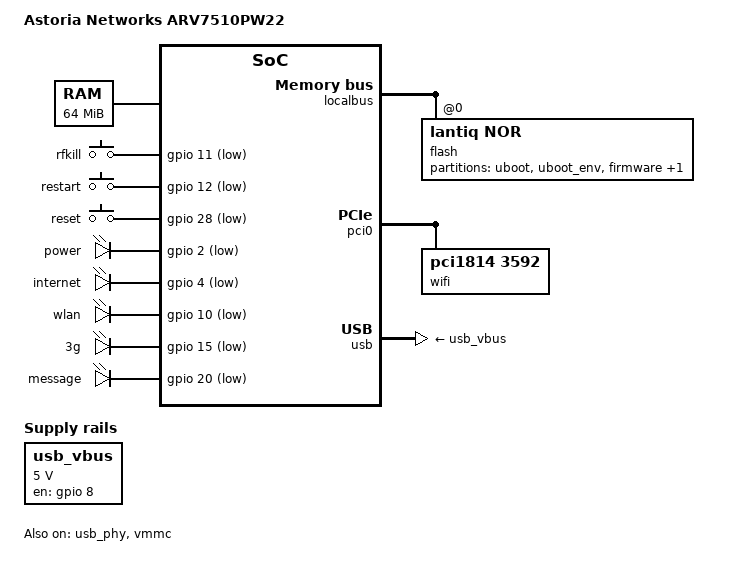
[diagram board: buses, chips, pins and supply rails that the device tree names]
/dts-v1/;

#include "danube.dtsi"

#include <dt-bindings/input/input.h>

/ {
	compatible = "arcadyan,arv7510pw22", "lantiq,xway", "lantiq,danube";
	model = "Astoria Networks ARV7510PW22";

	chosen {
		bootargs = "console=ttyLTQ0,115200";
	};

	aliases {
		led-boot = &power;
		led-failsafe = &power;
		led-running = &power;
		led-upgrade = &power;

		led-dsl = &internet;
		led-usb = &umts;
		led-wifi = &wlan;
	};

	memory@0 {
		device_type = "memory";
		reg = <0x0 0x4000000>;
	};

	keys {
		compatible = "gpio-keys-polled";
		poll-interval = <100>;

		rfkill {
			label = "rfkill";
			gpios = <&gpio 11 GPIO_ACTIVE_LOW>;
			linux,code = <KEY_RFKILL>;
		};
		restart {
			label = "restart";
			gpios = <&gpio 12 GPIO_ACTIVE_LOW>;
			linux,code = <KEY_POWER>;
		};
		reset {
			label = "reset";
			gpios = <&gpio 28 GPIO_ACTIVE_LOW>;
			linux,code = <KEY_RESTART>;
		};
	};

	leds {
		compatible = "gpio-leds";
		power: power {
			label = "power";
			gpios = <&gpio 2 GPIO_ACTIVE_LOW>;
			default-state = "keep";
		};
		internet: internet {
			label = "internet";
			gpios = <&gpio 4 GPIO_ACTIVE_LOW>;
		};
		wlan: wlan {
			label = "wlan";
			gpios = <&gpio 10 GPIO_ACTIVE_LOW>;
		};
		umts: 3g {
			label = "3g";
			gpios = <&gpio 15 GPIO_ACTIVE_LOW>;
		};
		message {
			label = "message";
			gpios = <&gpio 20 GPIO_ACTIVE_LOW>;
		};
	};
};

&gpio {
	pinctrl-names = "default";
	pinctrl-0 = <&state_default>;

	state_default: pinmux {
		exin {
			lantiq,groups = "exin1";
			lantiq,function = "exin";
			lantiq,pull = <2>;
			lantiq,output = <0>;
		};
		pci_rst {
			lantiq,pins = "io21";
			lantiq,pull = <2>;
			lantiq,output = <1>;
		};
		pins_out {
			lantiq,pins = "io2", "io4", "io8", "io9", "io10", "io15", "io20";
			lantiq,output = <1>;
		};
		pins_in {
			lantiq,pins = "io11", "io12", "io28";
			lantiq,open-drain = <1>;
			lantiq,pull = <2>;
			lantiq,output = <0>;
		};
	};

	usb_vbus: regulator-usb-vbus {
		compatible = "regulator-fixed";

		regulator-name = "USB_VBUS";

		regulator-min-microvolt = <5000000>;
		regulator-max-microvolt = <5000000>;

		gpio = <&gpio 8 GPIO_ACTIVE_HIGH>;
		enable-active-high;
	};
};

&gsw {
	/* Switch reset 19 */
	phy-mode = "mii";
	mtd-mac-address = <&boardconfig 0x16>;
};

&localbus {
	flash@0 {
		compatible = "lantiq,nor";
		bank-width = <2>;
		reg = <0 0x0 0x1000000>;

		partitions {
			compatible = "fixed-partitions";
			#address-cells = <1>;
			#size-cells = <1>;

			partition@0 {
				label = "uboot";
				reg = <0x00000 0x40000>;
				read-only;
			};

			partition@40000 {
				label = "uboot_env";
				reg = <0x40000 0x20000>;
				read-only;
			};

			partition@60000 {
				label = "firmware";
				reg = <0x60000 0xf80000>;
			};

			boardconfig: partition@fe0000 {
				label = "board_config";
				reg = <0xfe0000 0x20000>;
				read-only;
			};
		};
	};
};

&pci0 {
	status = "okay";

	pinctrl-0 = <&pci_gnt1_pins>, <&pci_req1_pins>, <&pci_req2_pins>;
	pinctrl-names = "default";

	lantiq,external-clock;
	interrupt-map = <
		0x7000 0 0 1 &icu0 30
		0x7800 0 0 1 &icu0 135
		0x7800 0 0 2 &icu0 135
		0x7800 0 0 3 &icu0 135
	>;
	gpio-reset = <&gpio 21 GPIO_ACTIVE_HIGH>;
	req-mask = <0x3>;

	wifi@1814,3592 {
		compatible = "pci1814,3592";
		reg = <0x7000 0 0 0 0>;
		ralink,mtd-eeprom = <&boardconfig 0x410>;
		ralink,mtd-eeprom-swap;
	};
};

&usb_phy {
	status = "okay";
};

&usb {
	status = "okay";
	vbus-supply = <&usb_vbus>;
};

&vmmc {
	status = "okay";
	gpios = <&gpio 9 GPIO_ACTIVE_HIGH>;
};
